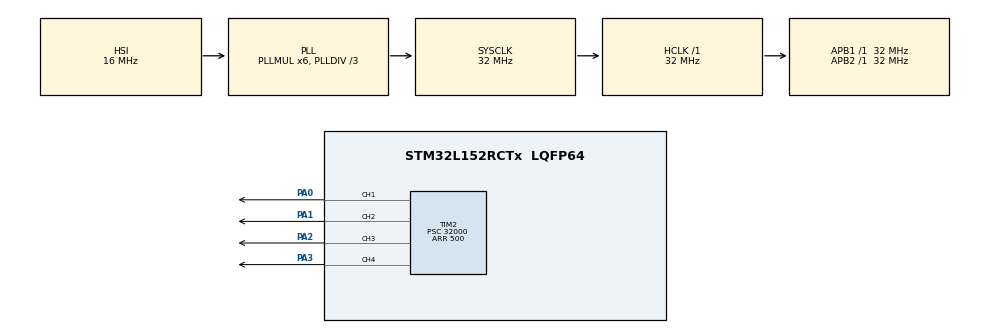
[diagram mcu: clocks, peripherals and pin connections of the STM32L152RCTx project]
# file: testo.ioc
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Mcu.Family=STM32L1
Mcu.Name=STM32L152RCTx
Mcu.Package=LQFP64
NVIC.PriorityGroup=NVIC_PRIORITYGROUP_0
PA0-WKUP1.Signal=S_TIM2_CH1_ETR
PA1.Signal=S_TIM2_CH2
PA2.Signal=S_TIM2_CH3
PA3.Signal=S_TIM2_CH4
ProjectManager.HeapSize=0x200
ProjectManager.StackSize=0x400
ProjectManager.TargetToolchain=MDK-ARM V5
RCC.48MHZClocksFreq_Value=48000000
RCC.AHBFreq_Value=32000000
RCC.APB1Freq_Value=32000000
RCC.APB1TimFreq_Value=32000000
RCC.APB2Freq_Value=32000000
RCC.APB2TimFreq_Value=32000000
RCC.HCLKFreq_Value=32000000
RCC.HSE_VALUE=8000000
RCC.HSI_VALUE=16000000
RCC.LSE_VALUE=32768
RCC.MSI_VALUE=2097000
RCC.PLLDIV=RCC_PLL_DIV3
RCC.PLLMUL=RCC_PLL_MUL6
RCC.RTCClockSelectionVirtual=RCC_RTCCLKSOURCE_LSE
RCC.SYSCLKFreq_VALUE=32000000
RCC.SYSCLKSource=RCC_SYSCLKSOURCE_PLLCLK
RCC.USBOutput=48000000
RCC.VCOOutputFreq_Value=96000000
SH.S_TIM2_CH1_ETR.0=TIM2_CH1,PWM Generation1 CH1
SH.S_TIM2_CH2.0=TIM2_CH2,PWM Generation2 CH2
SH.S_TIM2_CH3.0=TIM2_CH3,PWM Generation3 CH3
SH.S_TIM2_CH4.0=TIM2_CH4,PWM Generation4 CH4
TIM2.AutoReloadPreload=TIM_AUTORELOAD_PRELOAD_ENABLE
TIM2.Channel-PWM\ Generation1\ CH1=TIM_CHANNEL_1
TIM2.Channel-PWM\ Generation2\ CH2=TIM_CHANNEL_2
TIM2.Channel-PWM\ Generation3\ CH3=TIM_CHANNEL_3
TIM2.Channel-PWM\ Generation4\ CH4=TIM_CHANNEL_4
TIM2.OCFastMode_PWM-PWM\ Generation1\ CH1=TIM_OCFAST_ENABLE
TIM2.OCFastMode_PWM-PWM\ Generation2\ CH2=TIM_OCFAST_ENABLE
TIM2.OCFastMode_PWM-PWM\ Generation3\ CH3=TIM_OCFAST_ENABLE
TIM2.OCFastMode_PWM-PWM\ Generation4\ CH4=TIM_OCFAST_ENABLE
TIM2.OCMode_PWM-PWM\ Generation1\ CH1=TIM_OCMODE_PWM1
TIM2.Period=500
TIM2.Prescaler=32000
TIM2.Pulse-PWM\ Generation1\ CH1=100
TIM2.Pulse-PWM\ Generation2\ CH2=200
TIM2.Pulse-PWM\ Generation3\ CH3=300
TIM2.Pulse-PWM\ Generation4\ CH4=400
TIM2.TIM_MasterOutputTrigger=TIM_TRGO_ENABLE
VP_TIM2_VS_ClockSourceINT.Mode=Internal
board=32L152CDISCOVERY

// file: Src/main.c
/* USER CODE BEGIN Header */
/**
  ******************************************************************************
  * @file           : main.c
  * @brief          : Main program body
  ******************************************************************************
  * @attention
  *
  * <h2><center>&copy; Copyright (c) 2019 STMicroelectronics.
  * All rights reserved.</center></h2>
  *
  * This software component is licensed by ST under BSD 3-Clause license,
  * the "License"; You may not use this file except in compliance with the
  * License. You may obtain a copy of the License at:
  *                        opensource.org/licenses/BSD-3-Clause
  *
  ******************************************************************************
  */
/* USER CODE END Header */

#include "main.h"

TIM_HandleTypeDef htim2;

void SystemClock_Config(void);
static void MX_GPIO_Init(void);
static void MX_TIM2_Init(void);

int main(void)
{

  /* MCU Configuration--------------------------------------------------------*/

  /* Reset of all peripherals, Initializes the Flash interface and the Systick. */
  HAL_Init();

  /* Configure the system clock */
  SystemClock_Config();

  /* Initialize all configured peripherals */
  MX_GPIO_Init();
  MX_TIM2_Init();
  /* USER CODE BEGIN 2 */
	HAL_TIM_PWM_Start(&htim2, TIM_CHANNEL_1);
	HAL_TIM_PWM_Start(&htim2, TIM_CHANNEL_2);
	HAL_TIM_PWM_Start(&htim2, TIM_CHANNEL_3);
	HAL_TIM_PWM_Start(&htim2, TIM_CHANNEL_4);

	TIM_OC_InitTypeDef tteg = {0};
	tteg.OCMode = TIM_OCMODE_PWM1;
  tteg.Pulse = 0;
  tteg.OCPolarity = TIM_OCPOLARITY_HIGH;
  tteg.OCFastMode = TIM_OCFAST_ENABLE;

	uint8_t up_down = 0;
	/* USER CODE END 2 */

  /* Infinite loop */
  /* USER CODE BEGIN WHILE */
  while (1)
  {

	HAL_Delay(100);
	//HAL_TIM_PWM_Stop(&htim2, TIM_CHANNEL_1);
	HAL_TIM_PWM_ConfigChannel(&htim2, &tteg, TIM_CHANNEL_1);
	HAL_TIM_PWM_Start(&htim2, TIM_CHANNEL_1);
	if(up_down == 0)
	{
		tteg.Pulse++;
	}
	else if(up_down == 1)
	{
		tteg.Pulse--;
	}

	if(tteg.Pulse == 100)
	{
		up_down = 1;
	}else if(tteg.Pulse == 50)
	{
		up_down = 0;
	}

		/* USER CODE END WHILE */

  }
}

void SystemClock_Config(void)
{
  RCC_OscInitTypeDef RCC_OscInitStruct = {0};
  RCC_ClkInitTypeDef RCC_ClkInitStruct = {0};

  /** Configure the main internal regulator output voltage
  */
  __HAL_PWR_VOLTAGESCALING_CONFIG(PWR_REGULATOR_VOLTAGE_SCALE1);
  /** Initializes the CPU, AHB and APB busses clocks
  */
  RCC_OscInitStruct.OscillatorType = RCC_OSCILLATORTYPE_HSI;
  RCC_OscInitStruct.HSIState = RCC_HSI_ON;
  RCC_OscInitStruct.HSICalibrationValue = RCC_HSICALIBRATION_DEFAULT;
  RCC_OscInitStruct.PLL.PLLState = RCC_PLL_ON;
  RCC_OscInitStruct.PLL.PLLSource = RCC_PLLSOURCE_HSI;
  RCC_OscInitStruct.PLL.PLLMUL = RCC_PLL_MUL6;
  RCC_OscInitStruct.PLL.PLLDIV = RCC_PLL_DIV3;
  if (HAL_RCC_OscConfig(&RCC_OscInitStruct) != HAL_OK)
  {
    Error_Handler();
  }
  /** Initializes the CPU, AHB and APB busses clocks
  */
  RCC_ClkInitStruct.ClockType = RCC_CLOCKTYPE_HCLK|RCC_CLOCKTYPE_SYSCLK
                              |RCC_CLOCKTYPE_PCLK1|RCC_CLOCKTYPE_PCLK2;
  RCC_ClkInitStruct.SYSCLKSource = RCC_SYSCLKSOURCE_PLLCLK;
  RCC_ClkInitStruct.AHBCLKDivider = RCC_SYSCLK_DIV1;
  RCC_ClkInitStruct.APB1CLKDivider = RCC_HCLK_DIV1;
  RCC_ClkInitStruct.APB2CLKDivider = RCC_HCLK_DIV1;

  if (HAL_RCC_ClockConfig(&RCC_ClkInitStruct, FLASH_LATENCY_1) != HAL_OK)
  {
    Error_Handler();
  }
}

static void MX_TIM2_Init(void)
{

  TIM_ClockConfigTypeDef sClockSourceConfig = {0};
  TIM_MasterConfigTypeDef sMasterConfig = {0};
  TIM_OC_InitTypeDef sConfigOC = {0};

  htim2.Instance = TIM2;
  htim2.Init.Prescaler = 32;
  htim2.Init.CounterMode = TIM_COUNTERMODE_UP;
  htim2.Init.Period = 100;
  htim2.Init.ClockDivision = TIM_CLOCKDIVISION_DIV1;
  htim2.Init.AutoReloadPreload = TIM_AUTORELOAD_PRELOAD_ENABLE;
  if (HAL_TIM_Base_Init(&htim2) != HAL_OK)
  {
    Error_Handler();
  }
  sClockSourceConfig.ClockSource = TIM_CLOCKSOURCE_INTERNAL;
  if (HAL_TIM_ConfigClockSource(&htim2, &sClockSourceConfig) != HAL_OK)
  {
    Error_Handler();
  }
  if (HAL_TIM_PWM_Init(&htim2) != HAL_OK)
  {
    Error_Handler();
  }
  sMasterConfig.MasterOutputTrigger = TIM_TRGO_ENABLE;
  sMasterConfig.MasterSlaveMode = TIM_MASTERSLAVEMODE_DISABLE;
  if (HAL_TIMEx_MasterConfigSynchronization(&htim2, &sMasterConfig) != HAL_OK)
  {
    Error_Handler();
  }
  sConfigOC.OCMode = TIM_OCMODE_PWM1;
  sConfigOC.Pulse = 1;
  sConfigOC.OCPolarity = TIM_OCPOLARITY_HIGH;
  sConfigOC.OCFastMode = TIM_OCFAST_ENABLE;
  if (HAL_TIM_PWM_ConfigChannel(&htim2, &sConfigOC, TIM_CHANNEL_1) != HAL_OK)
  {
    Error_Handler();
  }
  sConfigOC.Pulse = 2;
  if (HAL_TIM_PWM_ConfigChannel(&htim2, &sConfigOC, TIM_CHANNEL_2) != HAL_OK)
  {
    Error_Handler();
  }
  sConfigOC.Pulse = 3;
  if (HAL_TIM_PWM_ConfigChannel(&htim2, &sConfigOC, TIM_CHANNEL_3) != HAL_OK)
  {
    Error_Handler();
  }
  sConfigOC.Pulse = 4;
  if (HAL_TIM_PWM_ConfigChannel(&htim2, &sConfigOC, TIM_CHANNEL_4) != HAL_OK)
  {
    Error_Handler();
  }
  HAL_TIM_MspPostInit(&htim2);

}

static void MX_GPIO_Init(void)
{

  /* GPIO Ports Clock Enable */
  __HAL_RCC_GPIOA_CLK_ENABLE();

}

void Error_Handler(void)
{
}

/************************ (C) COPYRIGHT STMicroelectronics *****END OF FILE****/
